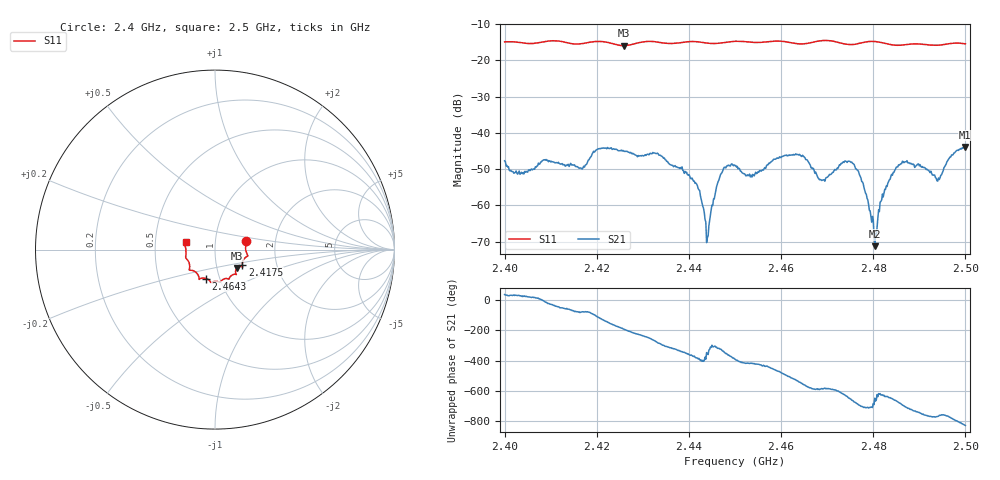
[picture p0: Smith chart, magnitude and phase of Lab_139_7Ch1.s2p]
# Hz S RI R 50
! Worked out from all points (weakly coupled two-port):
!   601 points, 2.4 GHz to 2.5 GHz, reference 50 ohm
!   highest |S21| = -43.89 dB at 2.4998 GHz (marker M1); lowest = -71.3 dB at 2.4803 GHz (marker M2)
!   lowest |S11| = -15.9 dB at 2.4258 GHz (marker M3), VSWR 1.38, Z = 62.3 - j13.2 ohm
!   |S11| at or under -10 dB: start of sweep to end of sweep
!   S12 and S22 are empty: the file has one direction only
!   S11 on the Smith chart (normalised r, x): 2.4 GHz: 1.41, +0.14; 2.4175 GHz: 1.34, -0.23; 2.4643 GHz: 0.86, -0.29; 2.5 GHz: 0.72, +0.06
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2.4e9  0.1728 0.0491  0.0033 0.00245  0 0  0 0
2.416667e9  0.1528 -0.0738  0.000614 -0.00318  0 0  0 0
2.4175e9  0.1519 -0.0832  0.000841 -0.00347  0 0  0 0
2.420333e9  0.1543 -0.0977  -0.00237 -0.00556  0 0  0 0
2.425833e9  0.1216 -0.1031  -0.00551 0.00109  0 0  0 0
2.433333e9  0.1132 -0.1374  0.00122 0.00499  0 0  0 0
2.441333e9  0.0765 -0.1647  0.00193 -0.000579  0 0  0 0
2.444e9  0.0636 -0.1608  0.000354 3e-05  0 0  0 0
2.447167e9  0.0397 -0.1697  0.00248 0.00134  0 0  0 0
2.45e9  0.0288 -0.1811  0.00306 -0.00174  0 0  0 0
2.453833e9  0.0115 -0.1769  0.00142 -0.00226  0 0  0 0
2.464333e9  -0.0499 -0.161  -0.00474 0.00064  0 0  0 0
2.466667e9  -0.0758 -0.1594  -0.00236 0.00233  0 0  0 0
2.469e9  -0.0882 -0.1659  -0.00154 0.00162  0 0  0 0
2.4755e9  -0.1112 -0.1226  0.00205 0.0032  0 0  0 0
2.477667e9  -0.1326 -0.1154  0.00201 0.000606  0 0  0 0
2.480333e9  -0.1437 -0.1121  8.4e-05 0.00026  0 0  0 0
2.483333e9  -0.1409 -0.0903  0.000471 0.00207  0 0  0 0
2.486833e9  -0.154 -0.0567  0.00377 0.0012  0 0  0 0
2.494167e9  -0.162 0.000113  0.00163 -0.00174  0 0  0 0
2.499833e9  -0.1647 0.0422  -0.00161 -0.00619  0 0  0 0
2.5e9  -0.1637 0.043  -0.00191 -0.00605  0 0  0 0
